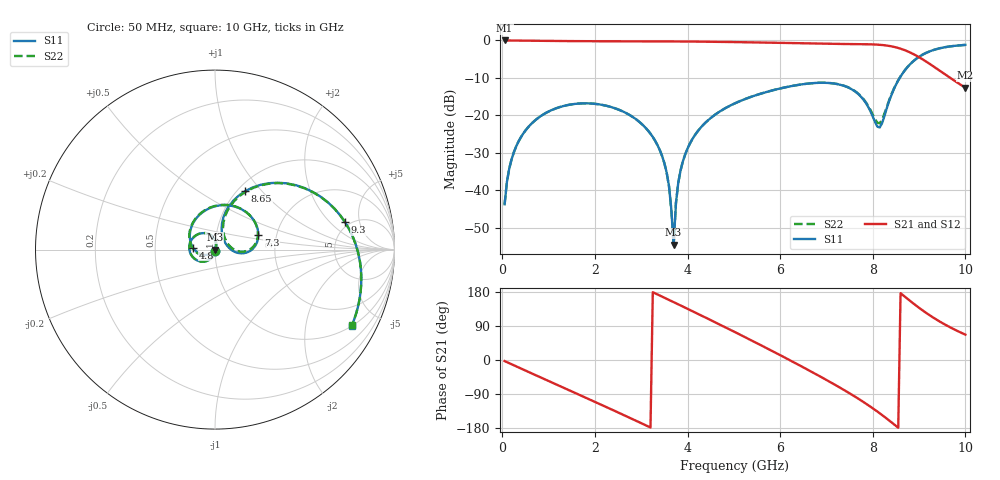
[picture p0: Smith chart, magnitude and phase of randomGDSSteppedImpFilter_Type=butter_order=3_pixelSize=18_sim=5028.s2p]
! freq	dB(S11)	phase(S11)	dB(S12)	phase(S12)
!  dB(S21)	phase(S21)	dB(S22)	phase(S22)
!S-par simulation data
#  GHz  S  DB  R 50
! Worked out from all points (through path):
!   200 points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, 50 MHz to 10 GHz, reference 50 ohm
!   highest |S21| = 0.00 dB at 50 MHz (marker M1); lowest = -12.6 dB at 10 GHz (marker M2)
!   group delay of S21, straight-line fit = 180 ps
!   lowest |S11| = -54.6 dB at 3.7 GHz (marker M3), VSWR 1.00, Z = 49.8 + j0.0365 ohm
!   |S11| at or under -10 dB: start of sweep to 8.583 GHz
!   |S22| runs from -55.0 to -1.2 dB; largest |S21 - S12| = 0
!   S11 on the Smith chart (normalised r, x): 50 MHz: 1.00, -0.01; 4.8 GHz: 0.78, +0.02; 7.3 GHz: 1.60, +0.29; 8.65 GHz: 1.09, +0.82; 9.3 GHz: 4.58, +3.08; 10 GHz: 1.02, -3.59
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0.05  -43.79 -92.1  -0.00 -2.8  -0.00 -2.8  -43.79 -92.2
0.2  -31.79 -101.0  -0.02 -11.2  -0.02 -11.2  -31.79 -101.0
0.5  -24.07 -118.0  -0.05 -27.9  -0.05 -27.9  -24.07 -118.0
1.15  -18.19 -154.4  -0.14 -63.7  -0.14 -63.7  -18.19 -154.5
1.75  -16.81 172.5  -0.20 -96.7  -0.20 -96.7  -16.81 172.2
2.65  -19.25 122.7  -0.22 -146.8  -0.22 -146.8  -19.26 121.8
3.4  -29.27 81.7  -0.24 170.2  -0.24 170.2  -29.28 77.2
3.6  -38.96 75.8  -0.25 158.6  -0.25 158.6  -39.00 60.1
3.7  -54.60 168.7  -0.25 152.7  -0.25 152.7  -54.98 -46.8
3.8  -38.03 -132.0  -0.26 146.9  -0.26 146.9  -38.02 -116.4
3.95  -30.43 -136.4  -0.28 138.0  -0.28 138.0  -30.42 -129.5
4.8  -18.21 175.0  -0.40 87.2  -0.40 87.2  -18.21 177.6
5.05  -16.65 159.9  -0.44 72.0  -0.44 72.0  -16.65 162.3
5.95  -12.98 104.3  -0.63 16.0  -0.63 16.0  -12.98 106.4
6.7  -11.42 57.0  -0.83 -32.5  -0.83 -32.5  -11.41 59.0
7.3  -11.85 19.1  -0.94 -73.5  -0.94 -73.5  -11.82 21.5
7.75  -15.10 -5.5  -0.99 -106.9  -0.99 -106.9  -14.97 -2.3
8.15  -23.27 37.1  -1.17 -140.6  -1.17 -140.6  -22.15 37.3
8.35  -16.34 75.1  -1.46 -159.2  -1.46 -159.2  -16.06 72.6
8.65  -8.71 62.6  -2.41 171.4  -2.41 171.4  -8.66 61.7
9.3  -2.60 11.8  -6.85 112.3  -6.85 112.3  -2.60 11.7
10  -1.19 -29.1  -12.65 66.9  -12.65 66.9  -1.19 -29.0
